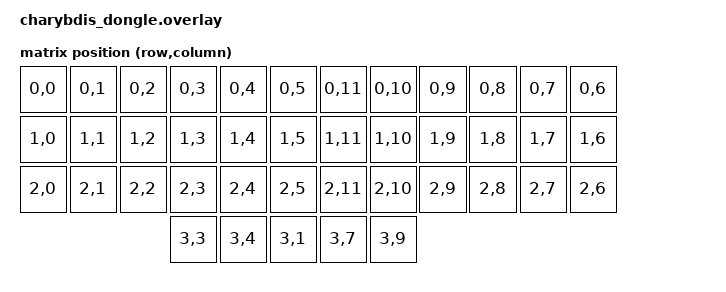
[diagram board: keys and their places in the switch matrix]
// Documentation: https://zmk.dev/docs/development/hardware-integration/dongle
#include <dt-bindings/zmk/matrix_transform.h>
#include "charybdis-layouts.dtsi"
#include "split_input_common.dtsi"
#include "charybdis_pointer.dtsi"

&charybdis_physical_layout {
    transform = <&default_transform>;
};

/* enable the listener on central */
&trackball_listener {
  status = "okay";
};

/ {
    chosen {
        zmk,kscan           = &kscan0;
        zmk,physical-layout = &charybdis_physical_layout;
    };

    kscan0: kscan_1 {
        compatible = "zmk,kscan-mock";
        columns    = <0>;
        rows       = <0>;
        events     = <0>;
    };

    default_transform: keymap_transform_0 {
        compatible = "zmk,matrix-transform";
        columns = <12>;
        rows = <4>;

        map = <
	RC(0,0) RC(0,1) RC(0,2) RC(0,3) RC(0,4) RC(0,5)  RC(0,11) RC(0,10) RC(0,9) RC(0,8) RC(0,7) RC(0,6)
	RC(1,0) RC(1,1) RC(1,2) RC(1,3) RC(1,4) RC(1,5)  RC(1,11) RC(1,10) RC(1,9) RC(1,8) RC(1,7) RC(1,6)
	RC(2,0) RC(2,1) RC(2,2) RC(2,3) RC(2,4) RC(2,5)  RC(2,11) RC(2,10) RC(2,9) RC(2,8) RC(2,7) RC(2,6)
							RC(3,3) RC(3,4) RC(3,1)  RC(3,7)  RC(3,9)
        >;
    };

    central: bt_central {
        compatible = "zmk,ble-central";
        peripherals = <&left_peripheral &right_peripheral>;
    };

    left_peripheral: bt_left {
        compatible = "zmk,ble-peripheral";
        local-name = "charybdis_left";
    };

    right_peripheral: bt_right {
        compatible = "zmk,ble-peripheral";
        local-name = "charybdis_right";
    };
};

&spi3 {
    status = "okay";
    #address-cells = <1>;
    #size-cells = <0>;
    pinctrl-0 = <&spi3_default>;
    pinctrl-1 = <&spi3_sleep>;
    pinctrl-names = "default", "sleep";
    cs-gpios = <&xiao_d 9 GPIO_ACTIVE_LOW>;

    st7789: st7789v@0 {
        compatible = "sitronix,st7789v";
        reg = <0>;
        spi-max-frequency = <31000000>;
        cmd-data-gpios = <&xiao_d 7 GPIO_ACTIVE_LOW>;
        reset-gpios = <&xiao_d 3 GPIO_ACTIVE_LOW>;
        width = <240>;
        height = <280>;
        x-offset = <0>;
        y-offset = <20>;
        vcom = <0x19>;
        gctrl = <0x35>;
        vrhs = <0x12>;
        vdvs = <0x20>;
        mdac = <0x00>;
        gamma = <0x01>;
        colmod = <0x05>;
        lcm = <0x2c>;
        porch-param = [ 0c 0c 00 33 33  ];
        cmd2en-param = [ 5a 69 02 01  ];
        pwctrl1-param = [ a4 a1  ];
        pvgam-param = [ D0 04 0D 11 13 2B 3F 54 4C 18 0D 0B 1F 23  ];
        nvgam-param = [ D0 04 0C 11 13 2C 3F 44 51 2F 1F 1F 20 23  ];
        ram-param = [ 00 F0  ];
        rgb-param = [ CD 08 14  ];
    };
};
